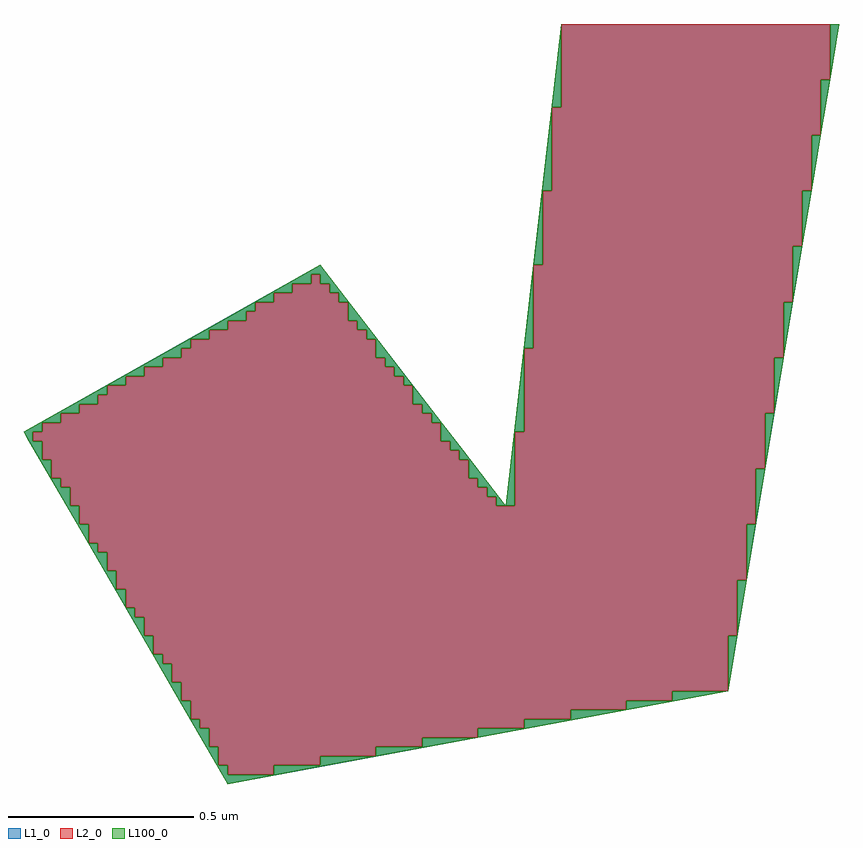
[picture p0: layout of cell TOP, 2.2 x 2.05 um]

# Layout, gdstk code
import gdstk
lib = gdstk.Library(unit=1e-6, precision=1e-09)
def R(c, l, rs):  # rectangles x0, y0, x1, y1
    for r in rs: c.add(gdstk.rectangle(r[:2], r[2:], *l))
def P(c, l, *ps):  # polygons
    for p in ps: c.add(gdstk.Polygon(p, *l))
L1_0 = (1, 0)
L2_0 = (2, 0)
L100_0 = (100, 0)

fill_cell = lib.new_cell('FILL_CELL')
R(fill_cell, L2_0, [(0,0,0.025,0.025)])

top = lib.new_cell('TOP')
P(top, L1_0, [(0.1,0.15),(-0.45,1.1),(0.35,1.55),(0.85,0.9),(1,2.2),(1.75,2.2),(1.45,0.4)])
P(top, L100_0, [(1.7,1.9),(1.7,2.05),(1.725,2.05)],
  [(1.625,1.45),(1.625,1.6),(1.65,1.6)],
  [(1.675,1.75),(1.675,1.9),(1.7,1.9)],
  [(-0.361,1.15),(-0.183,1.25),(-0.175,1.25),(-0.175,1.225),(-0.225,1.225),(-0.225,1.2),(-0.25,1.2),(-0.25,1.175),(-0.3,1.175),(-0.3,1.15)],
  [(0.1,1.4),(0.1,1.409),(0.35,1.55),(0.35,1.525),(0.325,1.525),(0.325,1.5),(0.275,1.5),(0.275,1.475),(0.225,1.475),(0.225,1.45),(0.175,1.45),(0.175,1.425),(0.15,1.425),(0.15,1.4)],
  [(0.45,1.375),(0.45,1.4),(0.425,1.4),(0.425,1.45),(0.4,1.45),(0.4,1.475),(0.375,1.475),(0.375,1.5),(0.35,1.5),(0.35,1.55),(0.485,1.375)],
  [(0.575,1.225),(0.575,1.25),(0.55,1.25),(0.55,1.275),(0.525,1.275),(0.525,1.3),(0.5,1.3),(0.5,1.35),(0.475,1.35),(0.475,1.375),(0.485,1.375),(0.6,1.225)],
  [(0.85,0.9),(0.925,1.55),(0.925,1.325),(0.9,1.325),(0.9,1.1),(0.875,1.1),(0.875,0.9)],
  [(-0.306,0.85),(-0.436,1.075),(-0.4,1.075),(-0.4,1.025),(-0.375,1.025),(-0.375,0.975),(-0.35,0.975),(-0.35,0.95),(-0.325,0.95),(-0.325,0.9),(-0.3,0.9),(-0.3,0.85)],
  [(0.925,1.55),(1,2.2),(1,1.975),(0.975,1.975),(0.975,1.75),(0.95,1.75),(0.95,1.55)],
  [(1.6,1.3),(1.6,1.45),(1.625,1.45)],
  [(-0.436,1.075),(-0.45,1.1),(-0.361,1.15),(-0.35,1.15),(-0.35,1.125),(-0.4,1.125),(-0.4,1.1),(-0.425,1.1),(-0.425,1.075)],
  [(0.775,0.275),(0.775,0.3),(0.9,0.3),(0.9,0.325),(1.025,0.325),(1.025,0.35),(1.175,0.35),(1.175,0.375),(1.3,0.375),(1.3,0.4),(1.45,0.4)],
  [(1.45,0.4),(1.45,0.55),(1.475,0.55)],
  [(0.1,0.15),(-0.03,0.375),(0,0.375),(0,0.325),(0.025,0.325),(0.025,0.3),(0.05,0.3),(0.05,0.25),(0.075,0.25),(0.075,0.2),(0.1,0.2)],
  [(1.55,1),(1.55,1.15),(1.575,1.15)],
  [(-0.183,1.25),(0.1,1.409),(0.1,1.375),(0.05,1.375),(0.05,1.35),(0,1.35),(0,1.325),(-0.025,1.325),(-0.025,1.3),(-0.075,1.3),(-0.075,1.275),(-0.125,1.275),(-0.125,1.25)],
  [(0.1,0.15),(0.1,0.175),(0.225,0.175),(0.225,0.2),(0.35,0.2),(0.35,0.196)],
  [(0.35,0.196),(0.35,0.225),(0.5,0.225),(0.5,0.25),(0.625,0.25),(0.625,0.275),(0.775,0.275)],
  [(0.825,0.9),(0.825,0.925),(0.8,0.925),(0.8,0.95),(0.775,0.95),(0.775,0.975),(0.75,0.975),(0.75,1.025),(0.725,1.025),(0.725,1.05),(0.735,1.05),(0.85,0.9)],
  [(1.575,1.15),(1.575,1.3),(1.6,1.3)],
  [(-0.03,0.375),(-0.175,0.625),(-0.15,0.625),(-0.15,0.6),(-0.125,0.6),(-0.125,0.55),(-0.1,0.55),(-0.1,0.5),(-0.075,0.5),(-0.075,0.475),(-0.05,0.475),(-0.05,0.425),(-0.025,0.425),(-0.025,0.375)],
  [(1.475,0.55),(1.475,0.7),(1.5,0.7)],
  [(1.65,1.6),(1.65,1.75),(1.675,1.75)],
  [(-0.175,0.625),(-0.306,0.85),(-0.275,0.85),(-0.275,0.8),(-0.25,0.8),(-0.25,0.775),(-0.225,0.775),(-0.225,0.725),(-0.2,0.725),(-0.2,0.675),(-0.175,0.675)],
  [(1.5,0.7),(1.5,0.85),(1.525,0.85)],
  [(1.525,0.85),(1.525,1),(1.55,1)],
  [(1.725,2.05),(1.725,2.2),(1.75,2.2)],
  [(0.7,1.05),(0.7,1.075),(0.675,1.075),(0.675,1.125),(0.65,1.125),(0.65,1.15),(0.625,1.15),(0.625,1.175),(0.6,1.175),(0.6,1.225),(0.735,1.05)])
top.add(gdstk.Reference(fill_cell, (-0.425,1.075)))
r = gdstk.Reference(fill_cell, (-0.4,1.025)); r.repetition = gdstk.Repetition(1, 4, v1=(0,0), v2=(0,0.025)); top.add(r)
r = gdstk.Reference(fill_cell, (-0.375,0.975)); r.repetition = gdstk.Repetition(1, 6, v1=(0,0), v2=(0,0.025)); top.add(r)
r = gdstk.Reference(fill_cell, (-0.35,0.95)); r.repetition = gdstk.Repetition(1, 8, v1=(0,0), v2=(0,0.025)); top.add(r)
r = gdstk.Reference(fill_cell, (-0.325,0.9)); r.repetition = gdstk.Repetition(1, 10, v1=(0,0), v2=(0,0.025)); top.add(r)
r = gdstk.Reference(fill_cell, (-0.3,0.85)); r.repetition = gdstk.Repetition(1, 13, v1=(0,0), v2=(0,0.025)); top.add(r)
r = gdstk.Reference(fill_cell, (-0.275,0.8)); r.repetition = gdstk.Repetition(1, 15, v1=(0,0), v2=(0,0.025)); top.add(r)
r = gdstk.Reference(fill_cell, (-0.25,0.775)); r.repetition = gdstk.Repetition(1, 17, v1=(0,0), v2=(0,0.025)); top.add(r)
r = gdstk.Reference(fill_cell, (-0.225,0.725)); r.repetition = gdstk.Repetition(1, 20, v1=(0,0), v2=(0,0.025)); top.add(r)
r = gdstk.Reference(fill_cell, (-0.2,0.675)); r.repetition = gdstk.Repetition(1, 22, v1=(0,0), v2=(0,0.025)); top.add(r)
r = gdstk.Reference(fill_cell, (-0.175,0.625)); r.repetition = gdstk.Repetition(1, 25, v1=(0,0), v2=(0,0.025)); top.add(r)
r = gdstk.Reference(fill_cell, (-0.15,0.6)); r.repetition = gdstk.Repetition(1, 26, v1=(0,0), v2=(0,0.025)); top.add(r)
r = gdstk.Reference(fill_cell, (-0.125,0.55)); r.repetition = gdstk.Repetition(1, 29, v1=(0,0), v2=(0,0.025)); top.add(r)
r = gdstk.Reference(fill_cell, (-0.1,0.5)); r.repetition = gdstk.Repetition(1, 31, v1=(0,0), v2=(0,0.025)); top.add(r)
r = gdstk.Reference(fill_cell, (-0.075,0.475)); r.repetition = gdstk.Repetition(1, 33, v1=(0,0), v2=(0,0.025)); top.add(r)
r = gdstk.Reference(fill_cell, (-0.05,0.425)); r.repetition = gdstk.Repetition(1, 35, v1=(0,0), v2=(0,0.025)); top.add(r)
r = gdstk.Reference(fill_cell, (-0.025,0.375)); r.repetition = gdstk.Repetition(1, 38, v1=(0,0), v2=(0,0.025)); top.add(r)
r = gdstk.Reference(fill_cell, (0,0.325)); r.repetition = gdstk.Repetition(1, 41, v1=(0,0), v2=(0,0.025)); top.add(r)
r = gdstk.Reference(fill_cell, (0.025,0.3)); r.repetition = gdstk.Repetition(1, 42, v1=(0,0), v2=(0,0.025)); top.add(r)
r = gdstk.Reference(fill_cell, (0.05,0.25)); r.repetition = gdstk.Repetition(1, 45, v1=(0,0), v2=(0,0.025)); top.add(r)
r = gdstk.Reference(fill_cell, (0.075,0.2)); r.repetition = gdstk.Repetition(1, 47, v1=(0,0), v2=(0,0.025)); top.add(r)
r = gdstk.Reference(fill_cell, (0.1,0.175)); r.repetition = gdstk.Repetition(1, 49, v1=(0,0), v2=(0,0.025)); top.add(r)
r = gdstk.Reference(fill_cell, (0.125,0.175)); r.repetition = gdstk.Repetition(1, 49, v1=(0,0), v2=(0,0.025)); top.add(r)
r = gdstk.Reference(fill_cell, (0.15,0.175)); r.repetition = gdstk.Repetition(1, 50, v1=(0,0), v2=(0,0.025)); top.add(r)
r = gdstk.Reference(fill_cell, (0.175,0.175)); r.repetition = gdstk.Repetition(1, 51, v1=(0,0), v2=(0,0.025)); top.add(r)
r = gdstk.Reference(fill_cell, (0.2,0.175)); r.repetition = gdstk.Repetition(1, 51, v1=(0,0), v2=(0,0.025)); top.add(r)
r = gdstk.Reference(fill_cell, (0.225,0.2)); r.repetition = gdstk.Repetition(1, 51, v1=(0,0), v2=(0,0.025)); top.add(r)
r = gdstk.Reference(fill_cell, (0.25,0.2)); r.repetition = gdstk.Repetition(1, 51, v1=(0,0), v2=(0,0.025)); top.add(r)
r = gdstk.Reference(fill_cell, (0.275,0.2)); r.repetition = gdstk.Repetition(1, 52, v1=(0,0), v2=(0,0.025)); top.add(r)
r = gdstk.Reference(fill_cell, (0.3,0.2)); r.repetition = gdstk.Repetition(1, 52, v1=(0,0), v2=(0,0.025)); top.add(r)
r = gdstk.Reference(fill_cell, (0.325,0.2)); r.repetition = gdstk.Repetition(1, 53, v1=(0,0), v2=(0,0.025)); top.add(r)
r = gdstk.Reference(fill_cell, (0.35,0.225)); r.repetition = gdstk.Repetition(1, 51, v1=(0,0), v2=(0,0.025)); top.add(r)
r = gdstk.Reference(fill_cell, (0.375,0.225)); r.repetition = gdstk.Repetition(1, 50, v1=(0,0), v2=(0,0.025)); top.add(r)
r = gdstk.Reference(fill_cell, (0.4,0.225)); r.repetition = gdstk.Repetition(1, 49, v1=(0,0), v2=(0,0.025)); top.add(r)
r = gdstk.Reference(fill_cell, (0.425,0.225)); r.repetition = gdstk.Repetition(1, 47, v1=(0,0), v2=(0,0.025)); top.add(r)
r = gdstk.Reference(fill_cell, (0.45,0.225)); r.repetition = gdstk.Repetition(1, 46, v1=(0,0), v2=(0,0.025)); top.add(r)
r = gdstk.Reference(fill_cell, (0.475,0.225)); r.repetition = gdstk.Repetition(1, 45, v1=(0,0), v2=(0,0.025)); top.add(r)
r = gdstk.Reference(fill_cell, (0.5,0.25)); r.repetition = gdstk.Repetition(1, 42, v1=(0,0), v2=(0,0.025)); top.add(r)
r = gdstk.Reference(fill_cell, (0.525,0.25)); r.repetition = gdstk.Repetition(1, 41, v1=(0,0), v2=(0,0.025)); top.add(r)
r = gdstk.Reference(fill_cell, (0.55,0.25)); r.repetition = gdstk.Repetition(1, 40, v1=(0,0), v2=(0,0.025)); top.add(r)
r = gdstk.Reference(fill_cell, (0.575,0.25)); r.repetition = gdstk.Repetition(1, 39, v1=(0,0), v2=(0,0.025)); top.add(r)
r = gdstk.Reference(fill_cell, (0.6,0.25)); r.repetition = gdstk.Repetition(1, 37, v1=(0,0), v2=(0,0.025)); top.add(r)
r = gdstk.Reference(fill_cell, (0.625,0.275)); r.repetition = gdstk.Repetition(1, 35, v1=(0,0), v2=(0,0.025)); top.add(r)
r = gdstk.Reference(fill_cell, (0.65,0.275)); r.repetition = gdstk.Repetition(1, 34, v1=(0,0), v2=(0,0.025)); top.add(r)
r = gdstk.Reference(fill_cell, (0.675,0.275)); r.repetition = gdstk.Repetition(1, 32, v1=(0,0), v2=(0,0.025)); top.add(r)
r = gdstk.Reference(fill_cell, (0.7,0.275)); r.repetition = gdstk.Repetition(1, 31, v1=(0,0), v2=(0,0.025)); top.add(r)
r = gdstk.Reference(fill_cell, (0.725,0.275)); r.repetition = gdstk.Repetition(1, 30, v1=(0,0), v2=(0,0.025)); top.add(r)
r = gdstk.Reference(fill_cell, (0.75,0.275)); r.repetition = gdstk.Repetition(1, 28, v1=(0,0), v2=(0,0.025)); top.add(r)
r = gdstk.Reference(fill_cell, (0.775,0.3)); r.repetition = gdstk.Repetition(1, 26, v1=(0,0), v2=(0,0.025)); top.add(r)
r = gdstk.Reference(fill_cell, (0.8,0.3)); r.repetition = gdstk.Repetition(1, 25, v1=(0,0), v2=(0,0.025)); top.add(r)
r = gdstk.Reference(fill_cell, (0.825,0.3)); r.repetition = gdstk.Repetition(1, 24, v1=(0,0), v2=(0,0.025)); top.add(r)
r = gdstk.Reference(fill_cell, (0.85,0.3)); r.repetition = gdstk.Repetition(1, 24, v1=(0,0), v2=(0,0.025)); top.add(r)
r = gdstk.Reference(fill_cell, (0.875,0.3)); r.repetition = gdstk.Repetition(1, 32, v1=(0,0), v2=(0,0.025)); top.add(r)
r = gdstk.Reference(fill_cell, (0.9,0.325)); r.repetition = gdstk.Repetition(1, 40, v1=(0,0), v2=(0,0.025)); top.add(r)
r = gdstk.Reference(fill_cell, (0.925,0.325)); r.repetition = gdstk.Repetition(1, 49, v1=(0,0), v2=(0,0.025)); top.add(r)
r = gdstk.Reference(fill_cell, (0.95,0.325)); r.repetition = gdstk.Repetition(1, 57, v1=(0,0), v2=(0,0.025)); top.add(r)
r = gdstk.Reference(fill_cell, (0.975,0.325)); r.repetition = gdstk.Repetition(1, 66, v1=(0,0), v2=(0,0.025)); top.add(r)
r = gdstk.Reference(fill_cell, (1,0.325)); r.repetition = gdstk.Repetition(1, 75, v1=(0,0), v2=(0,0.025)); top.add(r)
r = gdstk.Reference(fill_cell, (1.025,0.35)); r.repetition = gdstk.Repetition(1, 74, v1=(0,0), v2=(0,0.025)); top.add(r)
r = gdstk.Reference(fill_cell, (1.05,0.35)); r.repetition = gdstk.Repetition(1, 74, v1=(0,0), v2=(0,0.025)); top.add(r)
r = gdstk.Reference(fill_cell, (1.075,0.35)); r.repetition = gdstk.Repetition(1, 74, v1=(0,0), v2=(0,0.025)); top.add(r)
r = gdstk.Reference(fill_cell, (1.1,0.35)); r.repetition = gdstk.Repetition(1, 74, v1=(0,0), v2=(0,0.025)); top.add(r)
r = gdstk.Reference(fill_cell, (1.125,0.35)); r.repetition = gdstk.Repetition(1, 74, v1=(0,0), v2=(0,0.025)); top.add(r)
r = gdstk.Reference(fill_cell, (1.15,0.35)); r.repetition = gdstk.Repetition(1, 74, v1=(0,0), v2=(0,0.025)); top.add(r)
r = gdstk.Reference(fill_cell, (1.175,0.375)); r.repetition = gdstk.Repetition(1, 73, v1=(0,0), v2=(0,0.025)); top.add(r)
r = gdstk.Reference(fill_cell, (1.2,0.375)); r.repetition = gdstk.Repetition(1, 73, v1=(0,0), v2=(0,0.025)); top.add(r)
r = gdstk.Reference(fill_cell, (1.225,0.375)); r.repetition = gdstk.Repetition(1, 73, v1=(0,0), v2=(0,0.025)); top.add(r)
r = gdstk.Reference(fill_cell, (1.25,0.375)); r.repetition = gdstk.Repetition(1, 73, v1=(0,0), v2=(0,0.025)); top.add(r)
r = gdstk.Reference(fill_cell, (1.275,0.375)); r.repetition = gdstk.Repetition(1, 73, v1=(0,0), v2=(0,0.025)); top.add(r)
r = gdstk.Reference(fill_cell, (1.3,0.4)); r.repetition = gdstk.Repetition(1, 72, v1=(0,0), v2=(0,0.025)); top.add(r)
r = gdstk.Reference(fill_cell, (1.325,0.4)); r.repetition = gdstk.Repetition(1, 72, v1=(0,0), v2=(0,0.025)); top.add(r)
r = gdstk.Reference(fill_cell, (1.35,0.4)); r.repetition = gdstk.Repetition(1, 72, v1=(0,0), v2=(0,0.025)); top.add(r)
r = gdstk.Reference(fill_cell, (1.375,0.4)); r.repetition = gdstk.Repetition(1, 72, v1=(0,0), v2=(0,0.025)); top.add(r)
r = gdstk.Reference(fill_cell, (1.4,0.4)); r.repetition = gdstk.Repetition(1, 72, v1=(0,0), v2=(0,0.025)); top.add(r)
r = gdstk.Reference(fill_cell, (1.425,0.4)); r.repetition = gdstk.Repetition(1, 72, v1=(0,0), v2=(0,0.025)); top.add(r)
r = gdstk.Reference(fill_cell, (1.45,0.55)); r.repetition = gdstk.Repetition(1, 66, v1=(0,0), v2=(0,0.025)); top.add(r)
r = gdstk.Reference(fill_cell, (1.475,0.7)); r.repetition = gdstk.Repetition(1, 60, v1=(0,0), v2=(0,0.025)); top.add(r)
r = gdstk.Reference(fill_cell, (1.5,0.85)); r.repetition = gdstk.Repetition(1, 54, v1=(0,0), v2=(0,0.025)); top.add(r)
r = gdstk.Reference(fill_cell, (1.525,1)); r.repetition = gdstk.Repetition(1, 48, v1=(0,0), v2=(0,0.025)); top.add(r)
r = gdstk.Reference(fill_cell, (1.55,1.15)); r.repetition = gdstk.Repetition(1, 42, v1=(0,0), v2=(0,0.025)); top.add(r)
r = gdstk.Reference(fill_cell, (1.575,1.3)); r.repetition = gdstk.Repetition(1, 36, v1=(0,0), v2=(0,0.025)); top.add(r)
r = gdstk.Reference(fill_cell, (1.6,1.45)); r.repetition = gdstk.Repetition(1, 30, v1=(0,0), v2=(0,0.025)); top.add(r)
r = gdstk.Reference(fill_cell, (1.625,1.6)); r.repetition = gdstk.Repetition(1, 24, v1=(0,0), v2=(0,0.025)); top.add(r)
r = gdstk.Reference(fill_cell, (1.65,1.75)); r.repetition = gdstk.Repetition(1, 18, v1=(0,0), v2=(0,0.025)); top.add(r)
r = gdstk.Reference(fill_cell, (1.675,1.9)); r.repetition = gdstk.Repetition(1, 12, v1=(0,0), v2=(0,0.025)); top.add(r)
r = gdstk.Reference(fill_cell, (1.7,2.05)); r.repetition = gdstk.Repetition(1, 6, v1=(0,0), v2=(0,0.025)); top.add(r)

lib.write_gds('TOP.gds')
